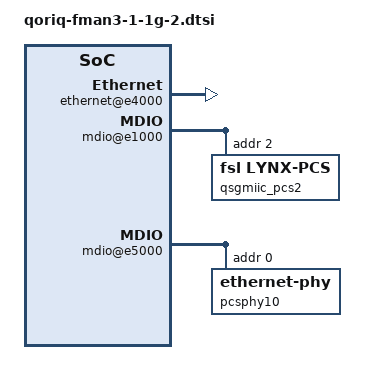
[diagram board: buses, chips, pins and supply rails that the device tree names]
/*
 * QorIQ FMan v3 1g port #2 device tree stub [ controller @ offset 0x500000 ]
 *
 * Copyright 2012 - 2015 Freescale Semiconductor Inc.
 *
 * Redistribution and use in source and binary forms, with or without
 * modification, are permitted provided that the following conditions are met:
 *     * Redistributions of source code must retain the above copyright
 *	 notice, this list of conditions and the following disclaimer.
 *     * Redistributions in binary form must reproduce the above copyright
 *	 notice, this list of conditions and the following disclaimer in the
 *	 documentation and/or other materials provided with the distribution.
 *     * Neither the name of Freescale Semiconductor nor the
 *	 names of its contributors may be used to endorse or promote products
 *	 derived from this software without specific prior written permission.
 *
 *
 * ALTERNATIVELY, this software may be distributed under the terms of the
 * GNU General Public License ("GPL") as published by the Free Software
 * Foundation, either version 2 of that License or (at your option) any
 * later version.
 *
 * THIS SOFTWARE IS PROVIDED BY Freescale Semiconductor ``AS IS'' AND ANY
 * EXPRESS OR IMPLIED WARRANTIES, INCLUDING, BUT NOT LIMITED TO, THE IMPLIED
 * WARRANTIES OF MERCHANTABILITY AND FITNESS FOR A PARTICULAR PURPOSE ARE
 * DISCLAIMED. IN NO EVENT SHALL Freescale Semiconductor BE LIABLE FOR ANY
 * DIRECT, INDIRECT, INCIDENTAL, SPECIAL, EXEMPLARY, OR CONSEQUENTIAL DAMAGES
 * (INCLUDING, BUT NOT LIMITED TO, PROCUREMENT OF SUBSTITUTE GOODS OR SERVICES;
 * LOSS OF USE, DATA, OR PROFITS; OR BUSINESS INTERRUPTION) HOWEVER CAUSED AND
 * ON ANY THEORY OF LIABILITY, WHETHER IN CONTRACT, STRICT LIABILITY, OR TORT
 * (INCLUDING NEGLIGENCE OR OTHERWISE) ARISING IN ANY WAY OUT OF THE USE OF THIS
 * SOFTWARE, EVEN IF ADVISED OF THE POSSIBILITY OF SUCH DAMAGE.
 */

fman@500000 {
	fman1_rx_0x0a: port@8a000 {
		cell-index = <0xa>;
		compatible = "fsl,fman-v3-port-rx";
		reg = <0x8a000 0x1000>;
	};

	fman1_tx_0x2a: port@aa000 {
		cell-index = <0x2a>;
		compatible = "fsl,fman-v3-port-tx";
		reg = <0xaa000 0x1000>;
	};

	ethernet@e4000 {
		cell-index = <2>;
		compatible = "fsl,fman-memac";
		reg = <0xe4000 0x1000>;
		fsl,fman-ports = <&fman1_rx_0x0a &fman1_tx_0x2a>;
		ptp-timer = <&ptp_timer1>;
		pcsphy-handle = <&pcsphy10>, <&qsgmiic_pcs2>;
		pcs-handle-names = "sgmii", "qsgmii";
	};

	mdio@e1000 {
		qsgmiic_pcs2: ethernet-pcs@2 {
			compatible = "fsl,lynx-pcs";
			reg = <2>;
		};
	};

	mdio@e5000 {
		#address-cells = <1>;
		#size-cells = <0>;
		compatible = "fsl,fman-memac-mdio", "fsl,fman-xmdio";
		reg = <0xe5000 0x1000>;
		fsl,erratum-a011043; /* must ignore read errors */

		pcsphy10: ethernet-phy@0 {
			reg = <0x0>;
		};
	};
};
